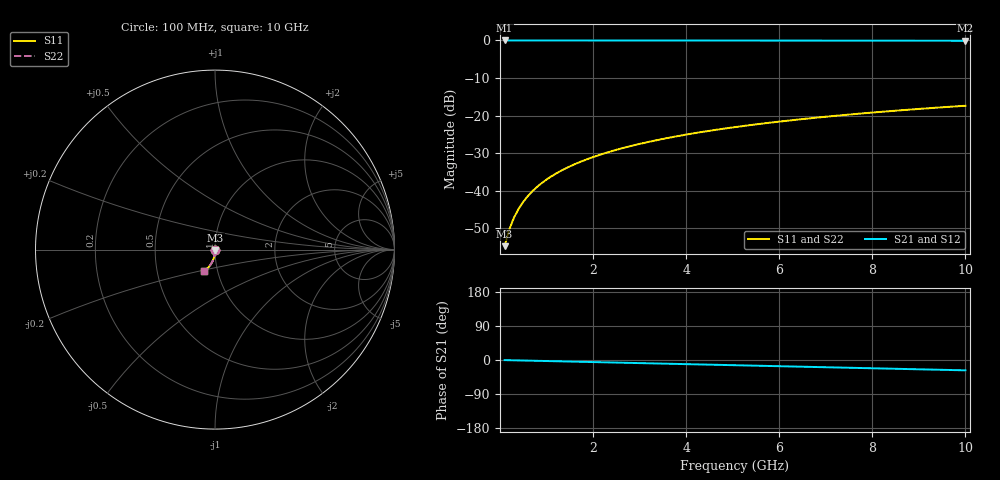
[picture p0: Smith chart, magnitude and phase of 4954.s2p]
# Hz S RI R 50.00
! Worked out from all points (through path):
!   100 points, 100 MHz to 10 GHz, reference 50 ohm
!   highest |S21| = -0.01 dB at 100 MHz (marker M1); lowest = -0.1 dB at 10 GHz (marker M2)
!   group delay of S21, straight-line fit = 7.58 ps
!   lowest |S11| = -54.8 dB at 100 MHz (marker M3), VSWR 1.00, Z = 50.1 - j0.141 ohm
!   |S11| at or under -10 dB: start of sweep to end of sweep
!   |S22| runs from -54.8 to -17.4 dB; largest |S21 - S12| = 0
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1e8  0.00116 -0.0014  0.9988 -0.00475  0.9988 -0.00475  0.00116 -0.0014
2e8  0.00114 -0.0028  0.9988 -0.0095  0.9988 -0.0095  0.00114 -0.0028
3e8  0.00111 -0.00421  0.9987 -0.0143  0.9987 -0.0143  0.00111 -0.00421
4e8  0.00107 -0.00561  0.9986 -0.019  0.9986 -0.019  0.00107 -0.00561
5e8  0.00101 -0.00701  0.9985 -0.0237  0.9985 -0.0237  0.00101 -0.00701
6e8  0.000937 -0.00841  0.9983 -0.0285  0.9983 -0.0285  0.000937 -0.00841
7e8  0.000851 -0.00981  0.9982 -0.0332  0.9982 -0.0332  0.000851 -0.00981
8e8  0.000751 -0.0112  0.998 -0.038  0.998 -0.038  0.000751 -0.0112
9e8  0.000638 -0.0126  0.9978 -0.0427  0.9978 -0.0427  0.000638 -0.0126
1.1e9  0.000371 -0.0154  0.9973 -0.0522  0.9973 -0.0522  0.000371 -0.0154
1.4e9  -0.000129 -0.0196  0.9963 -0.0665  0.9963 -0.0665  -0.000129 -0.0196
1.8e9  -0.000983 -0.0251  0.9947 -0.0854  0.9947 -0.0854  -0.000983 -0.0251
2.1e9  -0.00176 -0.0293  0.9933 -0.0996  0.9933 -0.0996  -0.00176 -0.0293
2.5e9  -0.00298 -0.0348  0.991 -0.1184  0.991 -0.1184  -0.00298 -0.0348
2.9e9  -0.00442 -0.0402  0.9884 -0.1373  0.9884 -0.1373  -0.00442 -0.0402
3.4e9  -0.00649 -0.0469  0.9845 -0.1607  0.9845 -0.1607  -0.00649 -0.0469
4.2e9  -0.0105 -0.0575  0.977 -0.198  0.977 -0.198  -0.0105 -0.0575
5.1e9  -0.0159 -0.0689  0.9668 -0.2395  0.9668 -0.2395  -0.0159 -0.0689
5.9e9  -0.0215 -0.0787  0.9562 -0.2759  0.9562 -0.2759  -0.0215 -0.0787
6.7e9  -0.0279 -0.088  0.944 -0.3118  0.944 -0.3118  -0.0279 -0.088
8.4e9  -0.0436 -0.106  0.9136 -0.3861  0.9136 -0.3861  -0.0436 -0.106
1e10  -0.0609 -0.1204  0.8793 -0.4532  0.8793 -0.4532  -0.0609 -0.1204
